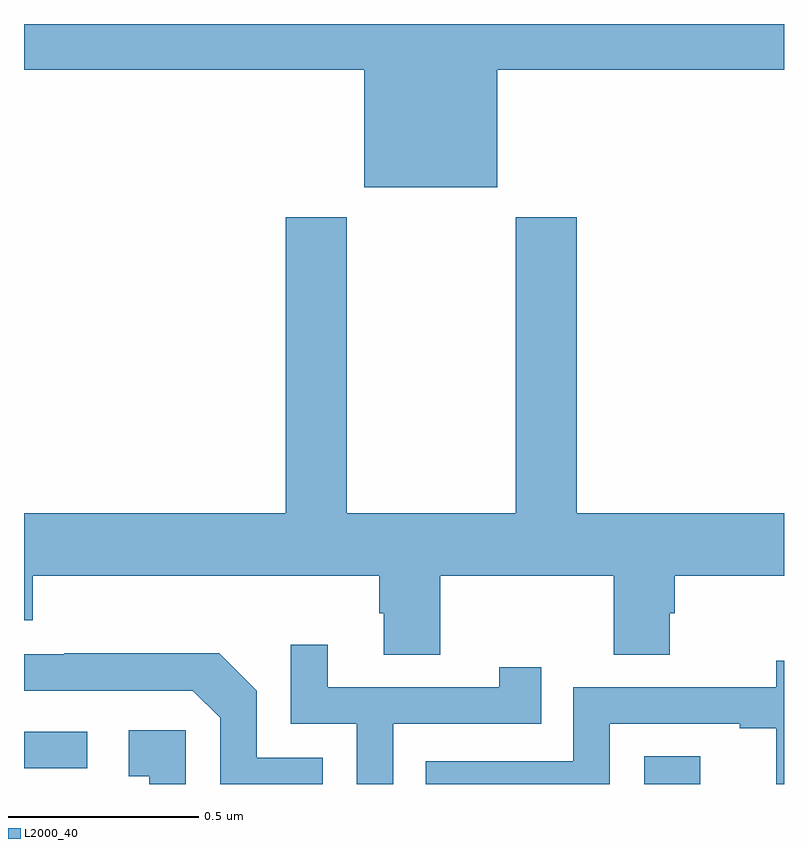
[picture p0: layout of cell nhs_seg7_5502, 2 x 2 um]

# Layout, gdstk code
import gdstk
lib = gdstk.Library(unit=1e-6, precision=1e-09)
def R(c, l, rs):  # rectangles x0, y0, x1, y1
    for r in rs: c.add(gdstk.rectangle(r[:2], r[2:], *l))
def P(c, l, *ps):  # polygons
    for p in ps: c.add(gdstk.Polygon(p, *l))
L2000_40 = (2000, 40)

nhs_seg7_5502 = lib.new_cell('nhs_seg7_5502')
R(nhs_seg7_5502, L2000_40, [(187.632,1068,187.78,1068.073), (186,1068.042,186.166,1068.138)])
P(nhs_seg7_5502, L2000_40, [(187.246,1069.88),(188,1069.88),(188,1070),(186,1070),(186,1069.88),(186.896,1069.88),(186.896,1069.571),(187.246,1069.571)],
  [(187.095,1068.548),(187.552,1068.548),(187.552,1068.34),(187.699,1068.34),(187.699,1068.45),(187.712,1068.45),(187.712,1068.548),(188,1068.548),(188,1068.712),(187.454,1068.712),(187.454,1069.492),(187.294,1069.492),(187.294,1068.712),(186.849,1068.712),(186.849,1069.492),(186.689,1069.492),(186.689,1068.712),(186,1068.712),(186,1068.431),(186.023,1068.431),(186.023,1068.548),(186.935,1068.548),(186.935,1068.45),(186.947,1068.45),(186.947,1068.34),(187.095,1068.34)],
  [(186.972,1068.159),(187.361,1068.159),(187.361,1068.307),(187.25,1068.307),(187.25,1068.255),(186.799,1068.255),(186.799,1068.367),(186.702,1068.367),(186.702,1068.159),(186.876,1068.159),(186.876,1068),(186.972,1068)],
  [(186.786,1068.069),(186.612,1068.069),(186.612,1068.246),(186.514,1068.344),(186.106,1068.344),(186.106,1068.342),(186,1068.342),(186,1068.246),(186.444,1068.246),(186.516,1068.174),(186.516,1068),(186.786,1068)],
  [(187.542,1068.159),(187.883,1068.159),(187.883,1068.147),(187.979,1068.147),(187.979,1068),(188,1068),(188,1068.324),(187.98,1068.324),(187.98,1068.255),(187.446,1068.255),(187.446,1068.06),(187.057,1068.06),(187.057,1068),(187.542,1068)],
  [(186.426,1068.142),(186.276,1068.142),(186.276,1068.021),(186.329,1068.021),(186.329,1068),(186.426,1068)])

lib.write_gds('nhs_seg7_5502.gds')
